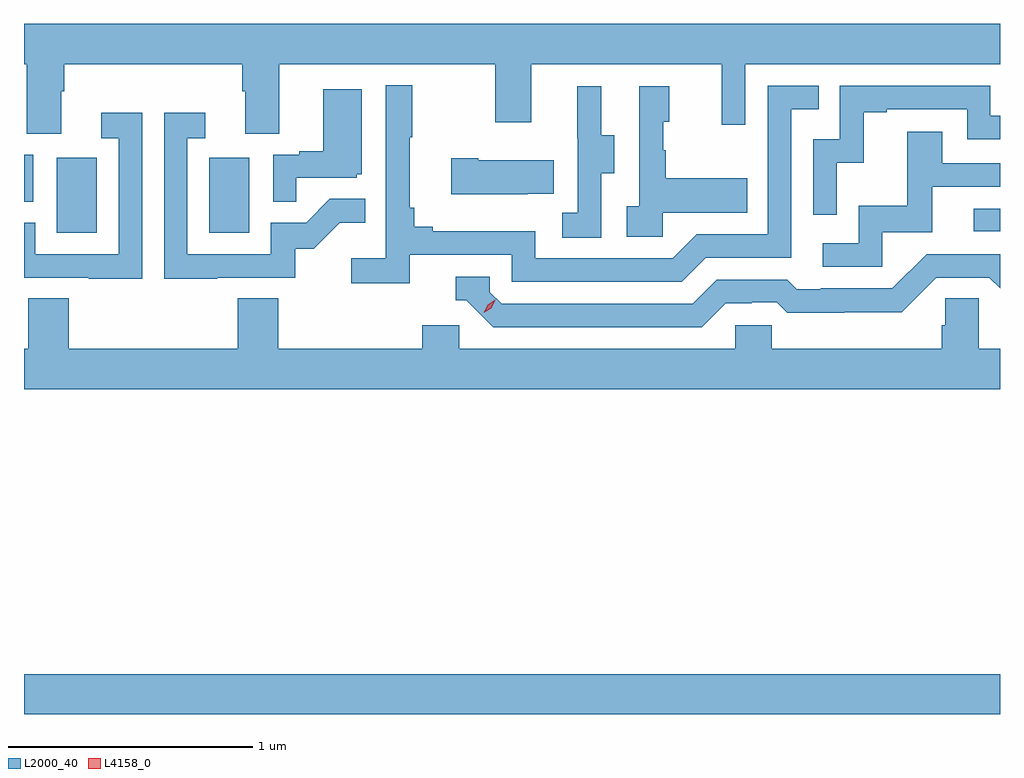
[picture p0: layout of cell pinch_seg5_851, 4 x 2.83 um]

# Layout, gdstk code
import gdstk
lib = gdstk.Library(unit=1e-6, precision=1e-09)
def R(c, l, rs):  # rectangles x0, y0, x1, y1
    for r in rs: c.add(gdstk.rectangle(r[:2], r[2:], *l))
def P(c, l, *ps):  # polygons
    for p in ps: c.add(gdstk.Polygon(p, *l))
L2000_40 = (2000, 40)
L4158_0 = (4158, 0)

pinch_seg5_851 = lib.new_cell('pinch_seg5_851')
R(pinch_seg5_851, L2000_40, [(842.105,888.728,846.105,888.892), (842.24,890.7,842.404,891.007), (842.864,890.7,843.028,891.007), (845.997,890.706,846.105,890.799), (842.105,890.827,842.142,891.021)])
P(pinch_seg5_851, L2000_40, [(842.257,891.28),(842.27,891.28),(842.27,891.392),(842.999,891.392),(842.999,891.28),(843.011,891.28),(843.011,891.106),(843.151,891.106),(843.151,891.392),(844.036,891.392),(844.036,891.153),(844.183,891.153),(844.183,891.392),(844.964,891.392),(844.964,891.144),(845.061,891.144),(845.061,891.392),(846.105,891.392),(846.105,891.556),(842.105,891.556),(842.105,891.392),(842.117,891.392),(842.117,891.106),(842.257,891.106)],
  [(843.686,890.61),(844.104,890.61),(844.104,890.499),(844.801,890.499),(844.9,890.598),(845.25,890.598),(845.25,891.207),(845.363,891.207),(845.363,891.303),(845.154,891.303),(845.154,890.694),(844.863,890.694),(844.764,890.595),(844.2,890.595),(844.2,890.707),(843.781,890.707),(843.781,890.726),(843.704,890.726),(843.704,890.803),(843.685,890.803),(843.685,891.091),(843.697,891.091),(843.697,891.304),(843.588,891.304),(843.588,890.596),(843.447,890.596),(843.447,890.494),(843.686,890.494)],
  [(845.436,890.987),(845.546,890.987),(845.546,891.195),(845.641,891.195),(845.641,891.207),(845.97,891.207),(845.97,891.084),(846.105,891.084),(846.105,891.18),(846.066,891.18),(846.066,891.303),(845.448,891.303),(845.448,891.084),(845.34,891.084),(845.34,890.775),(845.436,890.775)],
  [(844.722,890.783),(845.069,890.783),(845.069,890.923),(844.735,890.923),(844.735,891.038),(844.725,891.038),(844.725,891.156),(844.75,891.156),(844.75,891.301),(844.626,891.301),(844.626,890.81),(844.575,890.81),(844.575,890.685),(844.722,890.685)],
  [(844.47,890.944),(844.525,890.944),(844.525,891.099),(844.471,891.099),(844.471,891.301),(844.373,891.301),(844.373,891.087),(844.374,891.087),(844.374,890.783),(844.311,890.783),(844.311,890.68),(844.47,890.68)],
  [(843.221,890.925),(843.468,890.925),(843.468,890.94),(843.49,890.94),(843.49,891.289),(843.332,891.289),(843.332,891.034),(843.233,891.034),(843.233,891.021),(843.126,891.021),(843.126,890.827),(843.221,890.827)],
  [(842.897,890.517),(843.216,890.517),(843.216,890.634),(843.292,890.634),(843.399,890.741),(843.503,890.741),(843.503,890.84),(843.359,890.84),(843.261,890.742),(843.117,890.742),(843.117,890.613),(842.775,890.613),(842.775,891.087),(842.848,891.087),(842.848,891.193),(842.679,891.193),(842.679,890.512),(842.897,890.512)],
  [(842.589,891.193),(842.421,891.193),(842.421,891.087),(842.493,891.087),(842.493,890.613),(842.151,890.613),(842.151,890.742),(842.105,890.742),(842.105,890.517),(842.371,890.517),(842.371,890.512),(842.589,890.512)],
  [(845.622,890.703),(845.827,890.703),(845.827,890.889),(846.105,890.889),(846.105,890.985),(845.869,890.985),(845.869,891.115),(845.725,891.115),(845.725,890.812),(845.526,890.812),(845.526,890.658),(845.379,890.658),(845.379,890.562),(845.622,890.562)],
  [(844.169,890.861),(844.277,890.861),(844.277,890.998),(843.967,890.998),(843.967,891.006),(843.855,891.006),(843.855,890.858),(844.169,890.858)],
  [(844.981,890.412),(845.088,890.412),(845.088,890.415),(845.191,890.415),(845.233,890.373),(845.466,890.373),(845.466,890.375),(845.702,890.375),(845.844,890.517),(846.06,890.517),(846.105,890.472),(846.105,890.613),(845.805,890.613),(845.664,890.472),(845.371,890.472),(845.371,890.469),(845.272,890.469),(845.233,890.508),(844.944,890.508),(844.845,890.409),(844.062,890.409),(844.014,890.457),(844.014,890.52),(843.875,890.52),(843.875,890.424),(843.918,890.424),(844.029,890.313),(844.882,890.313)],
  [(846.105,890.224),(846.018,890.224),(846.018,890.432),(845.881,890.432),(845.881,890.322),(845.867,890.322),(845.867,890.224),(845.169,890.224),(845.169,890.322),(845.019,890.322),(845.019,890.224),(843.888,890.224),(843.888,890.322),(843.737,890.322),(843.737,890.224),(843.146,890.224),(843.146,890.432),(842.981,890.432),(842.981,890.224),(842.288,890.224),(842.288,890.432),(842.123,890.432),(842.123,890.224),(842.105,890.224),(842.105,890.06),(846.105,890.06)])
P(pinch_seg5_851, L4158_0, [(843.99,890.372),(843.99,890.372),(844.005,890.405),(844.036,890.425),(844.036,890.425),(844.036,890.424),(844.02,890.392),(843.99,890.372)])

lib.write_gds('pinch_seg5_851.gds')
